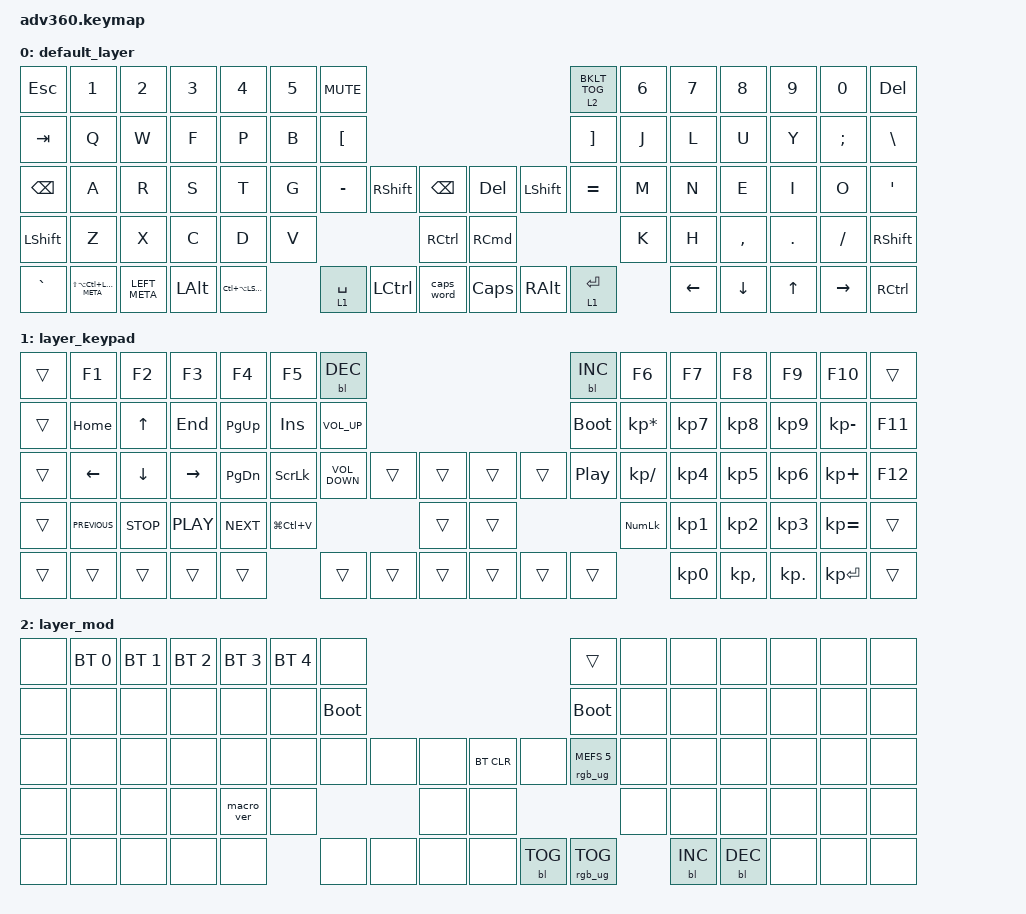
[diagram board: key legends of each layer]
/*
 * Copyright (c) 2020 The ZMK Contributors
 *
 * SPDX-License-Identifier: MIT
 */
/* THIS FILE WAS GENERATED!
 *
 * This file was generated automatically. You may or may not want to
 * edit it directly.
 */

#include <dt-bindings/zmk/stp.h>
#include <behaviors.dtsi>
#include <dt-bindings/zmk/backlight.h>
#include <dt-bindings/zmk/bt.h>
#include <dt-bindings/zmk/keys.h>
#include <dt-bindings/zmk/rgb.h>

/ {
    behaviors {
        #include "macros.dtsi"
      #include "version.dtsi"

        hm: homerow_mods {
            compatible = "zmk,behavior-hold-tap";
            label = "HOMEROW_MODS";
            #binding-cells = <2>;
            tapping-term-ms = <200>;
            quick_tap_ms = <175>;
            flavor = "tap-preferred";
            bindings = <&kp>, <&kp>;
        };
    };

    keymap {
        compatible = "zmk,keymap";

        default_layer {
            bindings = <
&kp ESCAPE     &kp N1                     &kp N2         &kp N3        &kp N4                  &kp N5  &kp C_MUTE                                                                                    &lt 2 C_BKLT_TOG   &kp N6  &kp N7          &kp N8          &kp N9        &kp N0           &kp DELETE
&kp TAB        &kp Q                      &kp W          &kp F         &kp P                   &kp B   &kp LEFT_BRACKET                                                                              &kp RIGHT_BRACKET  &kp J   &kp L           &kp U           &kp Y         &kp SEMICOLON    &kp BSLH
&kp BACKSPACE  &kp A                      &kp R          &kp S         &kp T                   &kp G   &kp MINUS         &kp RIGHT_SHIFT   &kp BACKSPACE          &kp DELETE         &kp LEFT_SHIFT  &kp EQUAL          &kp M   &kp N           &kp E           &kp I         &kp O            &kp SQT
&kp LSHFT      &kp Z                      &kp X          &kp C         &kp D                   &kp V                                       &kp RIGHT_CONTROL      &kp RIGHT_COMMAND                                     &kp K   &kp H           &kp COMMA       &kp DOT       &kp FSLH         &kp RSHFT
&kp GRAVE      &kp LS(LA(LC(LEFT_META)))  &kp LEFT_META  &kp LEFT_ALT  &kp LC(LA(LEFT_SHIFT))          &lt 1 SPACE       &kp LEFT_CONTROL  &caps_word             &kp CAPS           &kp RIGHT_ALT   &lt 1 ENTER                &kp LEFT_ARROW  &kp DOWN_ARROW  &kp UP_ARROW  &kp RIGHT_ARROW  &kp RCTRL
            >;
        };

        layer_keypad {
            bindings = <
&trans  &kp F1          &kp F2      &kp F3      &kp F4         &kp F5          &bl BL_DEC                                             &bl BL_INC        &kp F6           &kp F7     &kp F8        &kp F9      &kp F10       &trans
&trans  &kp HOME        &kp UP      &kp END     &kp PAGE_UP    &kp INSERT      &kp C_VOLUME_UP                                        &bootloader       &kp KP_MULTIPLY  &kp KP_N7  &kp KP_N8     &kp KP_N9   &kp KP_MINUS  &kp F11
&trans  &kp LEFT        &kp DOWN    &kp RIGHT   &kp PAGE_DOWN  &kp SCROLLLOCK  &kp C_VOLUME_DOWN  &trans  &trans      &trans  &trans  &kp C_PLAY_PAUSE  &kp KP_SLASH     &kp KP_N4  &kp KP_N5     &kp KP_N6   &kp KP_PLUS   &kp F12
&trans  &kp C_PREVIOUS  &kp C_STOP  &kp C_PLAY  &kp C_NEXT     &kp LG(LC(V))                              &trans      &trans                            &kp KP_NUM       &kp KP_N1  &kp KP_N2     &kp KP_N3   &kp KP_EQUAL  &trans
&trans  &trans          &trans      &trans      &trans                         &trans             &trans  &trans      &trans  &trans  &trans                             &kp KP_N0  &kp KP_COMMA  &kp KP_DOT  &kp KP_ENTER  &trans
            >;
        };

        layer_mod {
            bindings = <
&none  &bt BT_SEL 0  &bt BT_SEL 1  &bt BT_SEL 2  &bt BT_SEL 3  &bt BT_SEL 4  &none                                                  &trans                  &none  &none       &none       &none  &none  &none
&none  &none         &none         &none         &none         &none         &bootloader                                            &bootloader             &none  &none       &none       &none  &none  &none
&none  &none         &none         &none         &none         &none         &none        &none  &none      &bt BT_CLR  &none       &rgb_ug RGB_MEFS_CMD 5  &none  &none       &none       &none  &none  &none
&none  &none         &none         &none         &macro_ver    &none                             &none      &none                                           &none  &none       &none       &none  &none  &none
&none  &none         &none         &none         &none                       &none        &none  &none      &none       &bl BL_TOG  &rgb_ug RGB_TOG                &bl BL_INC  &bl BL_DEC  &none  &none  &none
            >;
        };
    };
};
